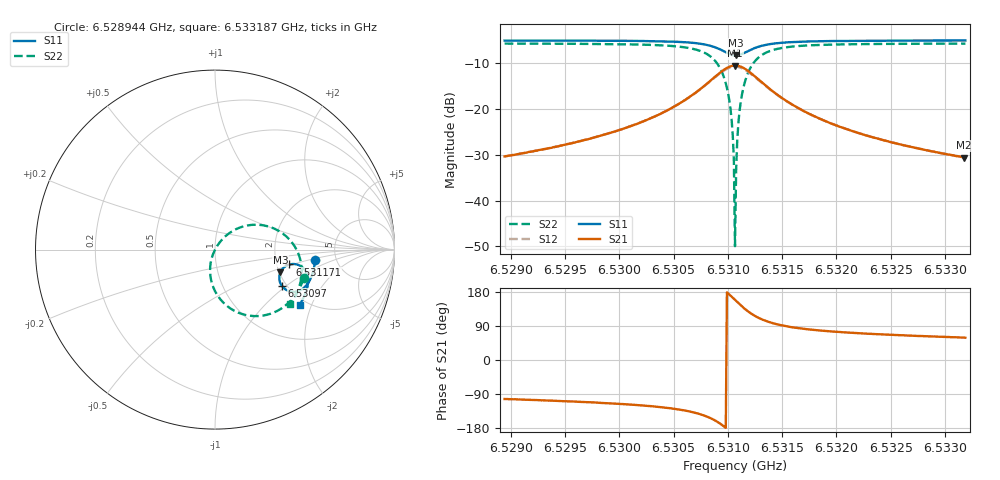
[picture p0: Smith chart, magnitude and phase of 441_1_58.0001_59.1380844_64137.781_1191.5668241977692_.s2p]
#  HZ  S  RI  R  50.00
! Rohde & Schwarz Vector Network Analyzer
! Rohde-Schwarz,ZNB20-2Port,1311601062101988,3.16
! Created: UTC 3/21/2024, 1:10:03 AM
! freq[Hz]  re:S11  im:S11  re:S21  im:S21  re:S12  im:S12  re:S22  im:S22
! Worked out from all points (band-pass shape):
!   401 points, 6.528944 GHz to 6.533187 GHz, reference 50 ohm
!   highest |S21| = -10.47 dB at 6.531065 GHz (marker M1); lowest = -30.6 dB at 6.533176 GHz (marker M2)
!   |S21| within 3 dB of the highest: 6.530855 GHz to 6.531279 GHz (424.1 kHz wide, 0.00649 % of centre)
!   lowest |S11| = -8.3 dB at 6.531076 GHz (marker M3), VSWR 2.26, Z = 101 - j30.3 ohm
!   |S11| at or under -10 dB: nowhere
!   |S22| runs from -50.0 to -5.7 dB; largest |S21 - S12| = 0.012
!   S11 on the Smith chart (normalised r, x): 6.528944 GHz: 3.45, -0.57; 6.53097 GHz: 1.89, -0.93; 6.531171 GHz: 2.35, -0.47; 6.533187 GHz: 1.82, -1.65
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6.5289439e9  0.5583 -0.0566  -0.00681 -0.0296  -0.00724 -0.0294  0.4953 -0.1596
6.5296546e9  0.548 -0.1153  -0.0159 -0.0422  -0.0168 -0.0419  0.4654 -0.2251
6.5303653e9  0.5201 -0.1849  -0.0486 -0.0725  -0.0506 -0.0711  0.3862 -0.3168
6.5307896e9  0.4508 -0.234  -0.1537 -0.098  -0.1559 -0.092  0.184 -0.3668
6.5308957e9  0.4071 -0.2291  -0.2213 -0.0728  -0.2209 -0.0637  0.0681 -0.3147
6.5309699e9  0.3731 -0.2027  -0.2718 -0.016  -0.2667 -0.00653  -0.00898 -0.2111
6.531023e9  0.3588 -0.168  -0.2889 0.0499  -0.2799 0.057  -0.0269 -0.0987
6.5310336e9  0.3582 -0.1598  -0.2886 0.0648  -0.2792 0.0711  -0.0242 -0.0743
6.5310442e9  0.3583 -0.1515  -0.2869 0.0797  -0.277 0.0851  -0.0189 -0.05
6.5310654e9  0.3612 -0.1352  -0.2789 0.1091  -0.2686 0.1126  -0.00112 -0.00297
6.531076e9  0.364 -0.1273  -0.2726 0.1231  -0.2624 0.1257  0.0111 0.0192
6.5310866e9  0.3678 -0.1199  -0.2652 0.1364  -0.2551 0.1381  0.0256 0.0397
6.5310972e9  0.3721 -0.1129  -0.2565 0.1488  -0.2466 0.1496  0.0418 0.0588
6.5311078e9  0.3771 -0.1065  -0.2468 0.1602  -0.2371 0.16  0.0595 0.0759
6.5311291e9  0.3886 -0.0956  -0.2251 0.1791  -0.2163 0.1778  0.0983 0.1037
6.5311715e9  0.415 -0.0827  -0.1774 0.2021  -0.1709 0.1993  0.181 0.1344
6.5312457e9  0.457 -0.0831  -0.1034 0.2047  -0.1002 0.2017  0.3054 0.1263
6.5313518e9  0.4934 -0.1053  -0.0398 0.1746  -0.0382 0.1729  0.41 0.0615
6.5317761e9  0.5183 -0.1848  0.0152 0.0843  0.0161 0.0841  0.483 -0.1279
6.5324868e9  0.4986 -0.2563  0.0175 0.0403  0.0182 0.0401  0.4552 -0.2443
6.5331763e9  0.4718 -0.3073  0.0152 0.0253  0.0158 0.0252  0.421 -0.3052
6.5331869e9  0.4712 -0.3082  0.0153 0.0253  0.0157 0.0251  0.4204 -0.3058
